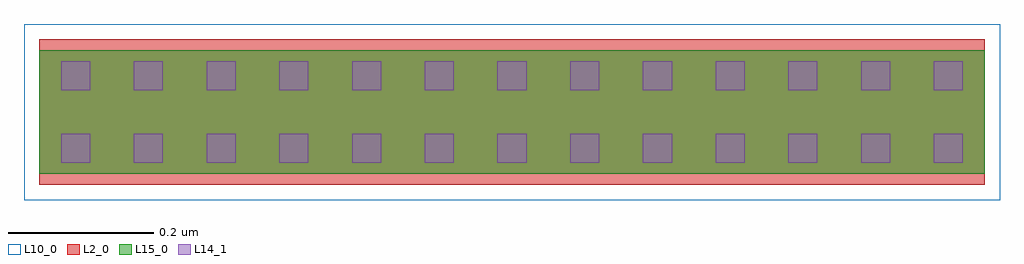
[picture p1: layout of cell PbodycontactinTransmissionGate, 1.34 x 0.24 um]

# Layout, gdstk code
import gdstk
lib = gdstk.Library(unit=1e-6, precision=1e-09)
def R(c, l, rs):  # rectangles x0, y0, x1, y1
    for r in rs: c.add(gdstk.rectangle(r[:2], r[2:], *l))
def A(c, l, x, y, w, h, nx, ny, dx, dy):  # array of equal rectangles
    R(c, l, [(x+i*dx, y+j*dy, x+i*dx+w, y+j*dy+h) for i in range(nx) for j in range(ny)])
L2_0 = (2, 0)
L10_0 = (10, 0)
L14_1 = (14, 1)
L15_0 = (15, 0)

pbodycontactintransmissi = lib.new_cell('PbodycontactinTransmissionGate')
R(pbodycontactintransmissi, L2_0, [(-0.65,-0.1,0.65,0.1)])
R(pbodycontactintransmissi, L10_0, [(-0.671,-0.121,0.671,0.121)])
A(pbodycontactintransmissi, L14_1, -0.62, -0.07, 0.04, 0.04, 13, 2, 0.1, 0.1)
R(pbodycontactintransmissi, L15_0, [(-0.65,-0.085,0.65,0.085)])

lib.write_gds('PbodycontactinTransmissionGate.gds')
